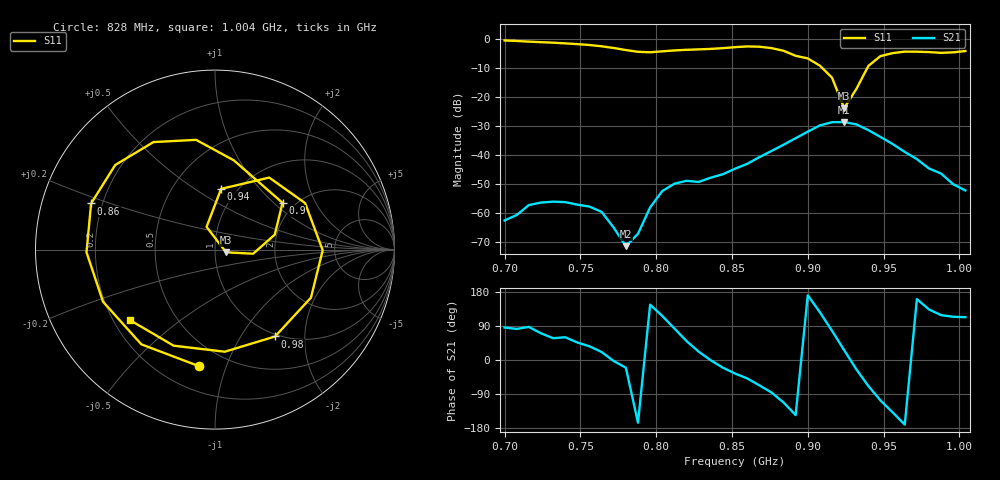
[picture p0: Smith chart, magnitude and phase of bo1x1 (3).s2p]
# Hz S RI R 50
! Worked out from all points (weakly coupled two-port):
!   39 points, 700 MHz to 1.004 GHz, reference 50 ohm
!   highest |S21| = -28.73 dB at 924 MHz (marker M1); lowest = -71.5 dB at 780 MHz (marker M2)
!   lowest |S11| = -23.9 dB at 924 MHz (marker M3), VSWR 1.14, Z = 56.6 - j1.73 ohm
!   |S11| at or under -10 dB: 909.4 MHz to 939.4 MHz (29.98 MHz wide, 3.24 % of centre)
!   S12 and S22 are empty: the file has one direction only
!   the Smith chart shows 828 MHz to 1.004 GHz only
!   S11 on the Smith chart (normalised r, x): 828 MHz: 0.36, -0.81; 860 MHz: 0.16, +0.18; 900 MHz: 1.73, +1.14; 940 MHz: 0.84, +0.65; 980 MHz: 0.97, -1.43; 1.004 GHz: 0.27, -0.34
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7e8  0.7511 0.5555  5.55e-05 0.000736  0 0  0 0
7.24e8  0.8416 -0.2296  0.000501 0.00141  0 0  0 0
7.4e8  0.4636 -0.6913  0.000763 0.00132  0 0  0 0
7.56e8  -0.1801 -0.7589  0.00103 0.000755  0 0  0 0
7.72e8  -0.6614 -0.2085  0.000553 -2.68e-05  0 0  0 0
7.8e8  -0.5982 0.2208  0.000249 -9.21e-05  0 0  0 0
7.88e8  -0.255 0.5378  -0.000421 -0.000109  0 0  0 0
7.96e8  0.235 0.535  -0.00103 0.00069  0 0  0 0
8.04e8  0.5758 0.1907  -0.00105 0.00212  0 0  0 0
8.12e8  0.5681 -0.2691  0.000375 0.00314  0 0  0 0
8.28e8  -0.0875 -0.65  0.00315 0.00128  0 0  0 0
8.52e8  -0.7159 -0.0148  0.00467 -0.00335  0 0  0 0
8.6e8  -0.6903 0.2572  0.00462 -0.0052  0 0  0 0
8.84e8  -0.1056 0.6115  -0.00559 -0.0138  0 0  0 0
9e8  0.3763 0.2608  -0.0247 0.00404  0 0  0 0
9.08e8  0.333 0.0833  -0.0189 0.0259  0 0  0 0
9.16e8  0.2126 -0.023  0.0081 0.0355  0 0  0 0
9.24e8  0.0619 -0.0152  0.0329 0.0162  0 0  0 0
9.4e8  0.0341 0.3384  0.00964 -0.0248  0 0  0 0
9.56e8  0.5021 0.2591  -0.0114 -0.0102  0 0  0 0
9.8e8  0.3347 -0.4841  -0.00398 0.00421  0 0  0 0
1.004e9  -0.4718 -0.394  -0.000949 0.00223  0 0  0 0
